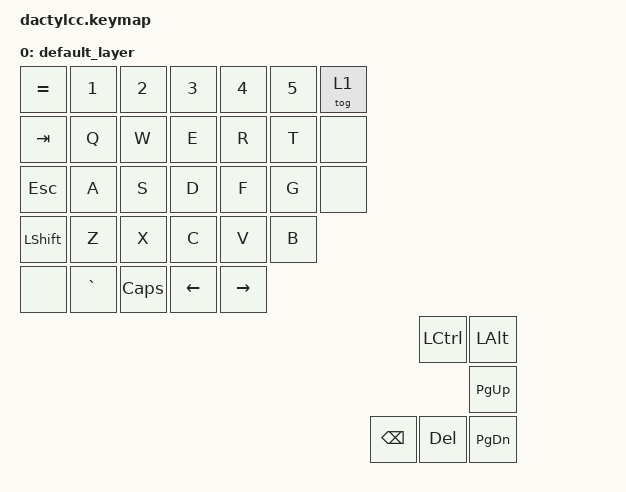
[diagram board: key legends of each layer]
#include <behaviors.dtsi>
#include <dt-bindings/zmk/keys.h>

/ {
    keymap {
        compatible = "zmk,keymap";

        default_layer {

            bindings = <
&kp EQUAL       &kp N1     &kp N2        &kp N3    &kp N4     &kp N5  &tog 1
&kp TAB         &kp Q      &kp W         &kp E     &kp R      &kp T   &none
&kp ESC         &kp A      &kp S         &kp D     &kp F      &kp G   &none
&kp LEFT_SHIFT  &kp Z      &kp X         &kp C     &kp V      &kp B
&none          &kp GRAVE  &kp CAPSLOCK  &kp LEFT  &kp RIGHT
                                                                                                &kp LCTRL   &kp LALT
                                                                                                            &kp PG_UP
                                                                                 &kp BACKSPACE  &kp DELETE  &kp PG_DN
            >;

        };
    };
};
